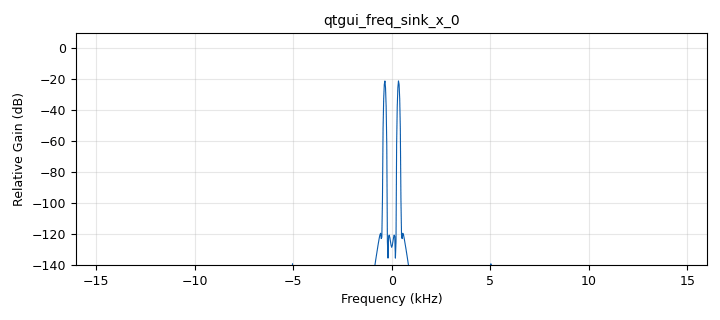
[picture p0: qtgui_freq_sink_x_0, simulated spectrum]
options:
  parameters:
    author: pranav
    generate_options: qt_gui
    id: task1
    output_language: python
    title: Happy Birthday!
  states: {}

blocks:
- name: a
  id: variable
  parameters:
    value: '440'
  states: {}
- name: a_
  id: variable
  parameters:
    value: '466'
  states: {}
- name: c
  id: variable
  parameters:
    value: '262'
  states: {}
- name: c_
  id: variable
  parameters:
    value: '523'
  states: {}
- name: d
  id: variable
  parameters:
    value: '293'
  states: {}
- name: e
  id: variable
  parameters:
    value: '329'
  states: {}
- name: f
  id: variable
  parameters:
    value: '349'
  states: {}
- name: g
  id: variable
  parameters:
    value: '392'
  states: {}
- name: samp_rate
  id: variable
  parameters:
    value: '32000'
  states: {}
- name: audio_sink_0
  id: audio_sink
  parameters:
    samp_rate: samp_rate
  states: {}
- name: blocks_repeat_0
  id: blocks_repeat
  parameters:
    interp: '8000'
    type: float
  states: {}
- name: blocks_throttle_0
  id: blocks_throttle
  parameters:
    samples_per_second: samp_rate
    type: float
  states: {state: bypassed}
- name: blocks_vco_f_0
  id: blocks_vco_f
  parameters:
    amplitude: '0.5'
    samp_rate: samp_rate
    sensitivity: '6.2832'
  states: {}
- name: blocks_vector_source_x_0_0
  id: blocks_vector_source_x
  parameters:
    repeat: 'True'
    type: float
    vector: (c, c, d, c, f, e, c, c, d, c, g, f, c, c ,c_, a, f, e, d, a_, a_, a, f, g, f)
  states: {}
- name: qtgui_freq_sink_x_0
  id: qtgui_freq_sink_x
  parameters:
    bw: samp_rate
    fc: '0'
    fftsize: '1024'
    showports: 'True'
    type: float
    wintype: firdes.WIN_BLACKMAN_hARRIS
  states: {}

connections:
- [blocks_repeat_0, '0', blocks_vco_f_0, '0']
- [blocks_throttle_0, '0', audio_sink_0, '0']
- [blocks_throttle_0, '0', qtgui_freq_sink_x_0, '0']
- [blocks_vco_f_0, '0', blocks_throttle_0, '0']
- [blocks_vector_source_x_0_0, '0', blocks_repeat_0, '0']

metadata:
  file_format: 1
